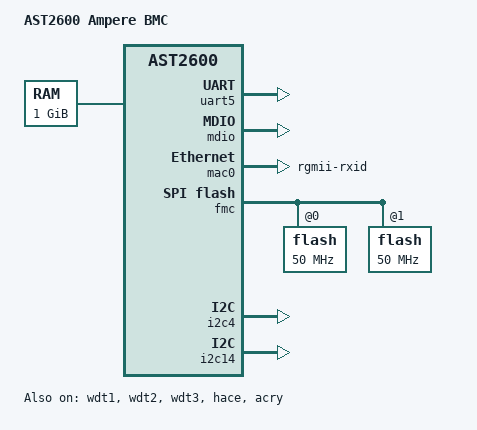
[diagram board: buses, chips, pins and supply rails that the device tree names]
// SPDX-License-Identifier: GPL-2.0+
// Copyright (c) 2022, Ampere Computing LLC
/dts-v1/;

#include "ast2600-u-boot.dtsi"

/ {
	model = "AST2600 Ampere BMC";
	compatible = "aspeed,ast2600-ampere", "aspeed,ast2600";

	memory {
		device_type = "memory";
		reg = <0x80000000 0x40000000>;
	};

	chosen {
		stdout-path = &uart5;
	};

	aliases {
		spi0 = &fmc;
		ethernet0 = &mac0;
	};

	cpus {
		cpu@0 {
			clock-frequency = <800000000>;
		};
		cpu@1 {
			clock-frequency = <800000000>;
		};
	};
};

&uart5 {
	u-boot,dm-pre-reloc;
	status = "okay";
};

&sdrammc {
	clock-frequency = <400000000>;
};

&wdt1 {
	status = "okay";
};

&wdt2 {
	status = "okay";
};

&wdt3 {
	status = "okay";
};

&mdio {
	status = "okay";
	pinctrl-names = "default";
	pinctrl-0 = <&pinctrl_mdio1_default>;

};

&mac0 {
	status = "okay";
	phy-mode = "rgmii-rxid";
	pinctrl-names = "default";
	pinctrl-0 = <&pinctrl_rgmii1_default>;
};

&fmc {
	status = "okay";

	pinctrl-names = "default";
	pinctrl-0 = <&pinctrl_fmcquad_default>;

	flash@0 {
		status = "okay";
		spi-max-frequency = <50000000>;
		spi-tx-bus-width = <4>;
		spi-rx-bus-width = <4>;
	};

	flash@1 {
		status = "okay";
		spi-max-frequency = <50000000>;
		spi-tx-bus-width = <4>;
		spi-rx-bus-width = <4>;
	};
};

&scu {
	mac0-clk-delay = <0x10 0x0a
			  0x10 0x10
			  0x10 0x10>;
};

&hace {
	u-boot,dm-pre-reloc;
	status = "okay";
};

&acry {
	u-boot,dm-pre-reloc;
	status = "okay";
};

&i2c4 {
	status = "okay";
};

&i2c14 {
	status = "okay";
};
